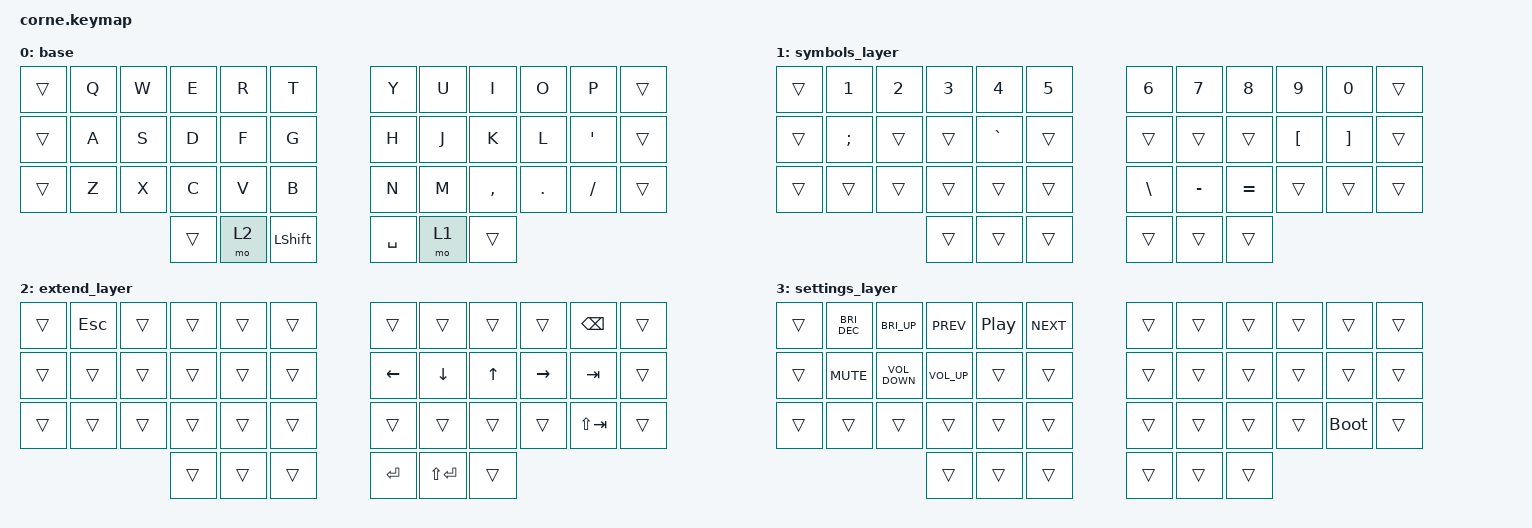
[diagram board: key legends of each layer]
/*
 * Copyright (c) 2020 The ZMK Contributors
 *
 * SPDX-License-Identifier: MIT
 */

#include <behaviors.dtsi>
#include <dt-bindings/zmk/keys.h>

#define HOLD_TAP_TAPPING_TERM 280
#define HOLD_TAP_QUICK_TAP 175
#define PRIOR_IDLE_MS 150

/ {
    behaviors {
        // Left-hand HRMs
        // Right-hand HRMs
    };

    combos {
        compatible = "zmk,combos";

        settings_layer {
            bindings = <&mo 3>;
            key-positions = <39 40>;
            timeout-ms = <50>;
            require-prior-idle-ms = <PRIOR_IDLE_MS>;
        };

        lctrl {
            bindings = <&kp LEFT_CONTROL>;
            key-positions = <1 2>;
            timeout-ms = <50>;
            require-prior-idle-ms = <PRIOR_IDLE_MS>;
        };

        lalt {
            bindings = <&kp LEFT_ALT>;
            key-positions = <2 3>;
            timeout-ms = <50>;
            require-prior-idle-ms = <PRIOR_IDLE_MS>;
        };

        lcmd {
            bindings = <&kp LEFT_COMMAND>;
            key-positions = <3 4>;
            timeout-ms = <50>;
            require-prior-idle-ms = <PRIOR_IDLE_MS>;
        };

        rctrl {
            bindings = <&kp LEFT_CONTROL>;
            key-positions = <9 10>;
            timeout-ms = <50>;
            require-prior-idle-ms = <PRIOR_IDLE_MS>;
        };

        ralt {
            bindings = <&kp LEFT_ALT>;
            key-positions = <8 9>;
            timeout-ms = <50>;
            require-prior-idle-ms = <PRIOR_IDLE_MS>;
        };

        rcmd {
            bindings = <&kp LEFT_COMMAND>;
            key-positions = <7 8>;
            timeout-ms = <50>;
            require-prior-idle-ms = <PRIOR_IDLE_MS>;
        };
    };

    keymap {
        compatible = "zmk,keymap";

        base {
            display-name = "base";

            // -----------------------------------------------------------------------------------------
            // |  TAB |  Q  |  W  |  E  |  R  |  T  |   |  Y  |  U   |  I  |  O  |  P  | BSPC |
            // | CTRL |  A  |  S  |  D  |  F  |  G  |   |  H  |  J   |  K  |  L  |  ;  |  '   |
            // | SHFT |  Z  |  X  |  C  |  V  |  B  |   |  N  |  M   |  ,  |  .  |  /  | ESC  |
            //                    | GUI | LWR | SPC |   | ENT | RSE  | ALT |

            bindings = <
&trans  &kp Q  &kp W  &kp E   &kp R  &kp T             &kp Y      &kp U  &kp I      &kp O    &kp P             &trans
&trans  &kp A  &kp S  &kp D   &kp F  &kp G             &kp H      &kp J  &kp K      &kp L    &kp SINGLE_QUOTE  &trans
&trans  &kp Z  &kp X  &kp C   &kp V  &kp B             &kp N      &kp M  &kp COMMA  &kp DOT  &kp SLASH         &trans
                      &trans  &mo 2  &kp LEFT_SHIFT    &kp SPACE  &mo 1  &trans
            >;

            label = "base_layer";
        };

        sym {
            display-name = "symbols_layer";
            bindings = <
&trans  &kp NUMBER_1   &kp NUMBER_2  &kp NUMBER_3  &kp NUMBER_4  &kp N5    &kp N6         &kp N7     &kp NUMBER_8  &kp N9            &kp N0             &trans
&trans  &kp SEMICOLON  &trans        &trans        &kp GRAVE     &trans    &trans         &trans     &trans        &kp LEFT_BRACKET  &kp RIGHT_BRACKET  &trans
&trans  &trans         &trans        &trans        &trans        &trans    &kp BACKSLASH  &kp MINUS  &kp EQUAL     &trans            &trans             &trans
                                     &trans        &trans        &trans    &trans         &trans     &trans
            >;
        };

        ext {
            bindings = <
&trans  &kp ESCAPE  &trans  &trans  &trans  &trans    &trans     &trans         &trans  &trans     &kp BACKSPACE  &trans
&trans  &trans      &trans  &trans  &trans  &trans    &kp LEFT   &kp DOWN       &kp UP  &kp RIGHT  &kp TAB        &trans
&trans  &trans      &trans  &trans  &trans  &trans    &trans     &trans         &trans  &trans     &kp LS(TAB)    &trans
                            &trans  &trans  &trans    &kp ENTER  &kp LS(ENTER)  &trans
            >;

            label = "extend_layer";
        };

        settings {
            label = "settings_layer";
            bindings = <
&trans  &kp C_BRIGHTNESS_DEC  &kp C_BRI_UP       &kp C_PREV       &kp C_PLAY_PAUSE  &kp C_NEXT    &trans  &trans  &trans  &trans  &trans       &trans
&trans  &kp C_MUTE            &kp C_VOLUME_DOWN  &kp C_VOLUME_UP  &trans            &trans        &trans  &trans  &trans  &trans  &trans       &trans
&trans  &trans                &trans             &trans           &trans            &trans        &trans  &trans  &trans  &trans  &bootloader  &trans
                                                 &trans           &trans            &trans        &trans  &trans  &trans
            >;
        };
    };
};
